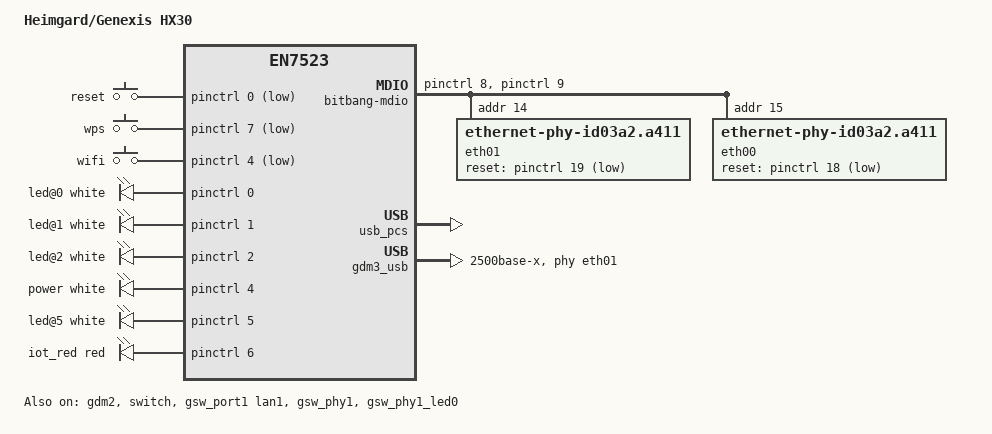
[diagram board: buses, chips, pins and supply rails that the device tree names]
/* SPDX-License-Identifier: GPL-2.0-or-later OR MIT */
/dts-v1/;

#include "en7523-genexis.dtsi"

/ {
	model = "Heimgard/Genexis HX30";
	compatible = "genexis,rodimus_r1", "airoha,en7523";

	aliases {
		led-boot = &power;
		led-failsafe = &iot_red;
		led-upgrade = &power;
		led-running = &power;
	};

	keys {
		compatible = "gpio-keys-polled";
		poll-interval = <100>;

		reset {
			label = "reset";
			linux,code = <KEY_RESTART>;
			gpios = <&pinctrl 0 GPIO_ACTIVE_LOW>;
			debounce-interval = <60>;
		};

		wps {
			label = "wps";
			linux,code = <KEY_WPS_BUTTON>;
			gpios = <&pinctrl 7 GPIO_ACTIVE_LOW>;
			debounce-interval = <60>;
		};

		wireless {
			label = "wifi";
			linux,code = <KEY_WLAN>;
			gpios = <&pinctrl 4 GPIO_ACTIVE_LOW>;
			debounce-interval = <60>;
		};
	};

	leds {
		compatible = "gpio-leds";

		/* internet:white */
		led@0 {
			gpios = <&pinctrl 0 GPIO_ACTIVE_HIGH>;
			function-enumerator = <0>;
			color = <LED_COLOR_ID_WHITE>;
			function = LED_FUNCTION_WAN_ONLINE;
		};

		/* wps:white */
		led@1 {
			gpios = <&pinctrl 1 GPIO_ACTIVE_HIGH>;
			function-enumerator = <1>;
			color = <LED_COLOR_ID_WHITE>;
			function = LED_FUNCTION_WPS;
		};

		/* fxs1:white */
		led@2 {
			gpios = <&pinctrl 2 GPIO_ACTIVE_HIGH>;
			function-enumerator = <2>;
			color = <LED_COLOR_ID_WHITE>;
			function = LED_FUNCTION_STATUS;
		};

		/* pwr:white */
		power: led@4 {
			gpios = <&pinctrl 4 GPIO_ACTIVE_HIGH>;
			function-enumerator = <4>;
			color = <LED_COLOR_ID_WHITE>;
			function = LED_FUNCTION_STATUS;
		};

		/* iot:white */
		led@5 {
			gpios = <&pinctrl 5 GPIO_ACTIVE_HIGH>;
			function-enumerator = <5>;
			color = <LED_COLOR_ID_WHITE>;
			function = LED_FUNCTION_STATUS;
		};

		/* iot:red */
		iot_red: led@6 {
			gpios = <&pinctrl 6 GPIO_ACTIVE_HIGH>;
			function-enumerator = <6>;
			color = <LED_COLOR_ID_RED>;
			function = LED_FUNCTION_STATUS;
		};
	};

	bitbang-mdio {
		compatible = "virtual,mdio-gpio";
		pinctrl-names = "default";
		gpios = <&pinctrl 8 GPIO_ACTIVE_HIGH>,
		        <&pinctrl 9 GPIO_ACTIVE_HIGH>;
		#address-cells = <1>;
		#size-cells = <0>;

		eth01: ethernet-phy@0 {
			compatible = "ethernet-phy-id03a2.a411";
			reg = <14>;
			reset-gpios = <&pinctrl 19 GPIO_ACTIVE_LOW>;
			reset-assert-us = <10000>;
			reset-deassert-us = <10000>;
			phy-mode = "2500base-x";
			full-duplex;
			pause;
		};

		eth00: ethernet-phy@1 {
			compatible = "ethernet-phy-id03a2.a411";
			reg = <15>;
			reset-gpios = <&pinctrl 18 GPIO_ACTIVE_LOW>;
			reset-assert-us = <10000>;
			reset-deassert-us = <10000>;
			phy-mode = "2500base-x";
			full-duplex;
			pause;
		};
	};
};

&ubi_vols {
	boarddata: ubi-boarddata {
		volname = "boarddata";
		read-only;

		nvmem-layout {
			compatible = "fixed-layout";
			#address-cells = <1>;
			#size-cells = <1>;

			eeprom2_4: eeprom@0 {
				reg = <0x0 0x0>;
			};
			eeprom5: eeprom@1 {
				reg = <0x0 0x0>;
			};
		};
	};
};

&usb_pcs {
	status = "okay";
};

&gdm2 {
	status = "okay";

	phy-mode = "2500base-x";
	phy-handle = <&eth00>;

	nvmem-cells = <&ubootenv_ethaddr 1>;
	nvmem-cell-names = "mac-address";
};

&gdm3_usb {
	status = "okay";

	phy-mode = "2500base-x";
	phy-handle = <&eth01>;
};

&switch {
	status = "okay";
};

&gsw_port1 {
	label = "lan1";
	status = "okay";
};

&gsw_phy1 {
	status = "okay";
};

&gsw_phy1_led0 {
	status = "okay";
};
